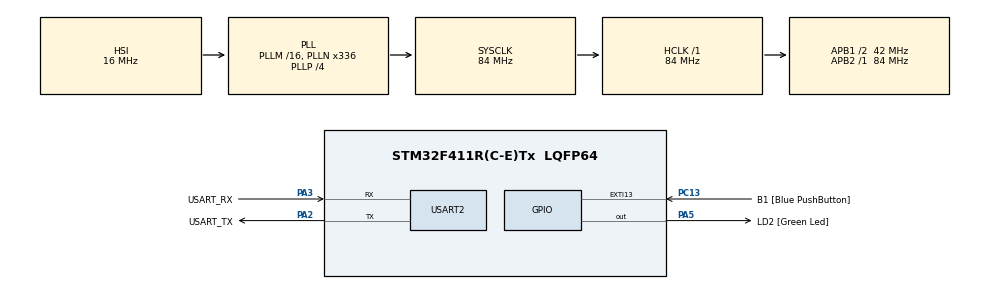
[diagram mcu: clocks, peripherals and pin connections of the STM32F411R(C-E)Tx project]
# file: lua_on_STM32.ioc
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Mcu.Family=STM32F4
Mcu.Name=STM32F411R(C-E)Tx
Mcu.Package=LQFP64
NVIC.PriorityGroup=NVIC_PRIORITYGROUP_0
PA13.GPIO_Label=TMS
PA13.Mode=Serial_Wire
PA13.Signal=SYS_JTMS-SWDIO
PA14.GPIO_Label=TCK
PA14.Mode=Serial_Wire
PA14.Signal=SYS_JTCK-SWCLK
PA2.GPIO_Label=USART_TX
PA2.Mode=Asynchronous
PA2.Signal=USART2_TX
PA3.GPIO_Label=USART_RX
PA3.Mode=Asynchronous
PA3.Signal=USART2_RX
PA5.GPIO_Label=LD2 [Green Led]
PA5.Signal=GPIO_Output
PB3.GPIO_Label=SWO
PB3.Signal=SYS_JTDO-SWO
PC13-ANTI_TAMP.GPIO_Label=B1 [Blue PushButton]
PC13-ANTI_TAMP.GPIO_ModeDefaultEXTI=GPIO_MODE_IT_FALLING
PC13-ANTI_TAMP.Signal=GPXTI13
PC14-OSC32_IN.Mode=LSE-External-Oscillator
PC14-OSC32_IN.Signal=RCC_OSC32_IN
PC15-OSC32_OUT.Mode=LSE-External-Oscillator
PC15-OSC32_OUT.Signal=RCC_OSC32_OUT
PH0\ -\ OSC_IN.Mode=HSE-External-Clock-Source
PH0\ -\ OSC_IN.Signal=RCC_OSC_IN
PH1\ -\ OSC_OUT.Mode=HSE-External-Clock-Source
PH1\ -\ OSC_OUT.Signal=RCC_OSC_OUT
ProjectManager.HeapSize=0x10000
ProjectManager.StackSize=0x400
ProjectManager.TargetToolchain=Makefile
RCC.48MHZClocksFreq_Value=84000000
RCC.AHBFreq_Value=84000000
RCC.APB1CLKDivider=RCC_HCLK_DIV2
RCC.APB1Freq_Value=42000000
RCC.APB1TimFreq_Value=84000000
RCC.APB2Freq_Value=84000000
RCC.APB2TimFreq_Value=84000000
RCC.CortexFreq_Value=84000000
RCC.FLatency-AdvancedSettings=FLASH_LATENCY_2
RCC.HCLKFreq_Value=84000000
RCC.HSE_VALUE=8000000
RCC.HSI_VALUE=16000000
RCC.PLLN=336
RCC.PLLP=RCC_PLLP_DIV4
RCC.SYSCLKFreq_VALUE=84000000
RCC.SYSCLKSource=RCC_SYSCLKSOURCE_PLLCLK
RCC.VCOOutputFreq_Value=336000000
USART2.VirtualMode=VM_ASYNC
board=NUCLEO-F411RE

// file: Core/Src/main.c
/* USER CODE BEGIN Header */
/**
  ******************************************************************************
  * @file           : main.c
  * @brief          : Main program body
  ******************************************************************************
  * @attention
  *
  * Copyright (c) 2026 STMicroelectronics.
  * All rights reserved.
  *
  * This software is licensed under terms that can be found in the LICENSE file
  * in the root directory of this software component.
  * If no LICENSE file comes with this software, it is provided AS-IS.
  *
  ******************************************************************************
  */
/* USER CODE END Header */
#include "main.h"

/* USER CODE BEGIN Includes */
#include <stdio.h>
#include <string.h>
#include "lua.h"
#include "lualib.h"
#include "lauxlib.h"
#include "embedded_cli.h"
/* USER CODE END Includes */

UART_HandleTypeDef huart2;

/* USER CODE BEGIN PV */
static lua_State *L;
/* USER CODE END PV */

void SystemClock_Config(void);
static void MX_GPIO_Init(void);
static void MX_USART2_UART_Init(void);

/* USER CODE BEGIN 0 */
int __io_getchar(void)
{
  uint8_t ch = '\0';
  (void) HAL_UART_Receive(&huart2, &ch, 1, 0);
  return (int)ch;
}

int __io_putchar(int ch)
{
  (void) HAL_UART_Transmit(&huart2, (uint8_t *) &ch, 1, HAL_MAX_DELAY);
  return ch;
}

static void put_char(void *data, char ch, bool is_last)
{
    (void)data; (void)is_last;
    __io_putchar(ch);
}
/* USER CODE END 0 */

int main(void)
{

  /* MCU Configuration--------------------------------------------------------*/

  /* Reset of all peripherals, Initializes the Flash interface and the Systick. */
  HAL_Init();

  /* Configure the system clock */
  SystemClock_Config();

  /* Initialize all configured peripherals */
  MX_GPIO_Init();
  MX_USART2_UART_Init();

  /* Infinite loop */
  /* USER CODE BEGIN WHILE */
  L = luaL_newstate();
  luaL_requiref(L, "_G",     luaopen_base,   1); lua_pop(L, 1);
  luaL_requiref(L, "math",   luaopen_math,   1); lua_pop(L, 1);
  luaL_requiref(L, "string", luaopen_string, 1); lua_pop(L, 1);
  luaL_requiref(L, "table",  luaopen_table,  1); lua_pop(L, 1);

  printf("Lua REPL ready\n");
  fflush(stdout);

  struct embedded_cli cli;
  embedded_cli_init(&cli, "> ", put_char, NULL);
  embedded_cli_prompt(&cli);

  while (1)
  {
    int c = __io_getchar();
    if (c && embedded_cli_insert_char(&cli, c))
    {
        const char *line = embedded_cli_get_line(&cli);

        if (LUA_OK != luaL_dostring(L, line))
        {
            const char *msg = lua_tostring(L, -1);
            printf("error: %s\r\n", msg ? msg : "(non-string error)");
            lua_pop(L, 1);
        }

        lua_settop(L, 0);
        embedded_cli_prompt(&cli);
    }
    /* USER CODE END WHILE */

  }
}

void SystemClock_Config(void)
{
  RCC_OscInitTypeDef RCC_OscInitStruct = {0};
  RCC_ClkInitTypeDef RCC_ClkInitStruct = {0};

  /** Configure the main internal regulator output voltage
  */
  __HAL_RCC_PWR_CLK_ENABLE();
  __HAL_PWR_VOLTAGESCALING_CONFIG(PWR_REGULATOR_VOLTAGE_SCALE1);

  /** Initializes the RCC Oscillators according to the specified parameters
  * in the RCC_OscInitTypeDef structure.
  */
  RCC_OscInitStruct.OscillatorType = RCC_OSCILLATORTYPE_HSI;
  RCC_OscInitStruct.HSIState = RCC_HSI_ON;
  RCC_OscInitStruct.HSICalibrationValue = RCC_HSICALIBRATION_DEFAULT;
  RCC_OscInitStruct.PLL.PLLState = RCC_PLL_ON;
  RCC_OscInitStruct.PLL.PLLSource = RCC_PLLSOURCE_HSI;
  RCC_OscInitStruct.PLL.PLLM = 16;
  RCC_OscInitStruct.PLL.PLLN = 336;
  RCC_OscInitStruct.PLL.PLLP = RCC_PLLP_DIV4;
  RCC_OscInitStruct.PLL.PLLQ = 4;
  if (HAL_RCC_OscConfig(&RCC_OscInitStruct) != HAL_OK)
  {
    Error_Handler();
  }

  /** Initializes the CPU, AHB and APB buses clocks
  */
  RCC_ClkInitStruct.ClockType = RCC_CLOCKTYPE_HCLK|RCC_CLOCKTYPE_SYSCLK
                              |RCC_CLOCKTYPE_PCLK1|RCC_CLOCKTYPE_PCLK2;
  RCC_ClkInitStruct.SYSCLKSource = RCC_SYSCLKSOURCE_PLLCLK;
  RCC_ClkInitStruct.AHBCLKDivider = RCC_SYSCLK_DIV1;
  RCC_ClkInitStruct.APB1CLKDivider = RCC_HCLK_DIV2;
  RCC_ClkInitStruct.APB2CLKDivider = RCC_HCLK_DIV1;

  if (HAL_RCC_ClockConfig(&RCC_ClkInitStruct, FLASH_LATENCY_2) != HAL_OK)
  {
    Error_Handler();
  }
}

static void MX_USART2_UART_Init(void)
{

  huart2.Instance = USART2;
  huart2.Init.BaudRate = 115200;
  huart2.Init.WordLength = UART_WORDLENGTH_8B;
  huart2.Init.StopBits = UART_STOPBITS_1;
  huart2.Init.Parity = UART_PARITY_NONE;
  huart2.Init.Mode = UART_MODE_TX_RX;
  huart2.Init.HwFlowCtl = UART_HWCONTROL_NONE;
  huart2.Init.OverSampling = UART_OVERSAMPLING_16;
  if (HAL_UART_Init(&huart2) != HAL_OK)
  {
    Error_Handler();
  }

}

static void MX_GPIO_Init(void)
{
  GPIO_InitTypeDef GPIO_InitStruct = {0};

  /* GPIO Ports Clock Enable */
  __HAL_RCC_GPIOC_CLK_ENABLE();
  __HAL_RCC_GPIOH_CLK_ENABLE();
  __HAL_RCC_GPIOA_CLK_ENABLE();
  __HAL_RCC_GPIOB_CLK_ENABLE();

  /*Configure GPIO pin Output Level */
  HAL_GPIO_WritePin(LD2_GPIO_Port, LD2_Pin, GPIO_PIN_RESET);

  /*Configure GPIO pin : B1_Pin */
  GPIO_InitStruct.Pin = B1_Pin;
  GPIO_InitStruct.Mode = GPIO_MODE_IT_FALLING;
  GPIO_InitStruct.Pull = GPIO_NOPULL;
  HAL_GPIO_Init(B1_GPIO_Port, &GPIO_InitStruct);

  /*Configure GPIO pin : LD2_Pin */
  GPIO_InitStruct.Pin = LD2_Pin;
  GPIO_InitStruct.Mode = GPIO_MODE_OUTPUT_PP;
  GPIO_InitStruct.Pull = GPIO_NOPULL;
  GPIO_InitStruct.Speed = GPIO_SPEED_FREQ_LOW;
  HAL_GPIO_Init(LD2_GPIO_Port, &GPIO_InitStruct);

}

void Error_Handler(void)
{
  __disable_irq();
  while (1)
  {
  }
}
